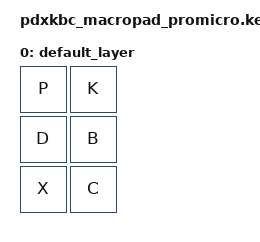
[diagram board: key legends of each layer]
#include <behaviors.dtsi>
#include <dt-bindings/zmk/keys.h>

/ {
    keymap {
        compatible = "zmk,keymap";
        
        default_layer {
            bindings = <
                &kp P &kp K
                &kp D &kp B
                &kp X &kp C
            >;
        };
    };
};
